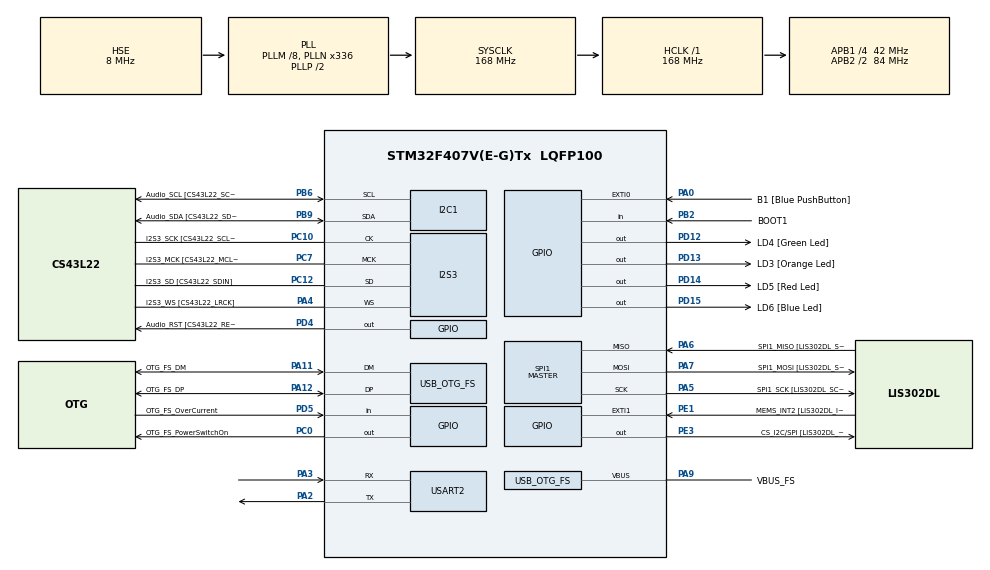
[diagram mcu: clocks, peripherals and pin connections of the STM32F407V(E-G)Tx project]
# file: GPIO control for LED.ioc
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I2S3.AudioFreq-Half_Duplex_Master=I2S_AUDIOFREQ_96K
I2S3.ErrorAudioFreq=-2.34 %
I2S3.ErrorAudioFreq-Half_Duplex_Master=0.8 %
I2S3.FullDuplexMode=I2S_FULLDUPLEXMODE_DISABLE
I2S3.Instance=SPI$Index
I2S3.RealAudioFreq=93.75 KHz
I2S3.RealAudioFreq-Half_Duplex_Master=96.774 KHz
I2S3.VirtualMode=I2S_MODE_MASTER
Mcu.Family=STM32F4
Mcu.Name=STM32F407V(E-G)Tx
Mcu.Package=LQFP100
NVIC.OTG_FS_IRQn=true\:0\:0\:false\:false\:true\:true\:true
NVIC.PriorityGroup=NVIC_PRIORITYGROUP_0
PA0-WKUP.GPIO_Label=B1 [Blue PushButton]
PA0-WKUP.GPIO_ModeDefaultEXTI=GPIO_MODE_EVT_RISING
PA0-WKUP.GPIO_PuPd=GPIO_NOPULL
PA0-WKUP.Signal=GPXTI0
PA10.GPIO_Label=OTG_FS_ID
PA10.GPIO_Mode=GPIO_MODE_AF_PP
PA10.GPIO_PuPd=GPIO_NOPULL
PA10.GPIO_Speed=GPIO_SPEED_FREQ_LOW
PA10.Signal=USB_OTG_FS_ID
PA11.GPIO_Label=OTG_FS_DM
PA11.GPIO_Mode=GPIO_MODE_AF_PP
PA11.GPIO_PuPd=GPIO_NOPULL
PA11.GPIO_Speed=GPIO_SPEED_FREQ_LOW
PA11.Mode=Host_Only
PA11.Signal=USB_OTG_FS_DM
PA12.GPIO_Label=OTG_FS_DP
PA12.GPIO_Mode=GPIO_MODE_AF_PP
PA12.GPIO_PuPd=GPIO_NOPULL
PA12.GPIO_Speed=GPIO_SPEED_FREQ_LOW
PA12.Mode=Host_Only
PA12.Signal=USB_OTG_FS_DP
PA13.GPIO_Label=SWDIO
PA13.Mode=Serial_Wire
PA13.Signal=SYS_JTMS-SWDIO
PA14.GPIO_Label=SWCLK
PA14.Mode=Serial_Wire
PA14.Signal=SYS_JTCK-SWCLK
PA2.Mode=Asynchronous
PA2.Signal=USART2_TX
PA3.Mode=Asynchronous
PA3.Signal=USART2_RX
PA4.GPIO_Label=I2S3_WS [CS43L22_LRCK]
PA4.GPIO_Mode=GPIO_MODE_AF_PP
PA4.GPIO_PuPd=GPIO_NOPULL
PA4.GPIO_Speed=GPIO_SPEED_FREQ_LOW
PA4.Mode=Half_Duplex_Master
PA4.Signal=I2S3_WS
PA5.GPIO_Label=SPI1_SCK [LIS302DL_SCL/SPC]
PA5.GPIO_Mode=GPIO_MODE_AF_PP
PA5.GPIO_PuPd=GPIO_NOPULL
PA5.GPIO_Speed=GPIO_SPEED_FREQ_LOW
PA5.Mode=Full_Duplex_Master
PA5.Signal=SPI1_SCK
PA6.GPIO_Label=SPI1_MISO [LIS302DL_SDO]
PA6.GPIO_Mode=GPIO_MODE_AF_PP
PA6.GPIO_PuPd=GPIO_NOPULL
PA6.GPIO_Speed=GPIO_SPEED_FREQ_LOW
PA6.Mode=Full_Duplex_Master
PA6.Signal=SPI1_MISO
PA7.GPIO_Label=SPI1_MOSI [LIS302DL_SDA/SDI/SDO]
PA7.GPIO_Mode=GPIO_MODE_AF_PP
PA7.GPIO_PuPd=GPIO_NOPULL
PA7.GPIO_Speed=GPIO_SPEED_FREQ_LOW
PA7.Mode=Full_Duplex_Master
PA7.Signal=SPI1_MOSI
PA9.GPIO_Label=VBUS_FS
PA9.GPIO_Mode=GPIO_MODE_INPUT
PA9.GPIO_PuPd=GPIO_NOPULL
PA9.Mode=Activate_VBUS
PA9.Signal=USB_OTG_FS_VBUS
PB10.GPIO_Label=CLK_IN [MP45DT02_CLK]
PB10.GPIO_Mode=GPIO_MODE_AF_PP
PB10.GPIO_PuPd=GPIO_NOPULL
PB10.GPIO_Speed=GPIO_SPEED_FREQ_LOW
PB10.Signal=I2S2_CK
PB2.GPIO_Label=BOOT1
PB2.GPIO_Mode=GPIO_MODE_INPUT
PB2.GPIO_PuPd=GPIO_NOPULL
PB2.Signal=GPIO_Input
PB3.GPIO_Label=SWO
PB3.Signal=SYS_JTDO-SWO
PB6.GPIO_Label=Audio_SCL [CS43L22_SCL]
PB6.GPIO_Mode=GPIO_MODE_AF_OD
PB6.GPIO_PuPd=GPIO_NOPULL
PB6.GPIO_Speed=GPIO_SPEED_FREQ_LOW
PB6.Mode=I2C
PB6.Signal=I2C1_SCL
PB9.GPIO_Label=Audio_SDA [CS43L22_SDA]
PB9.GPIO_Mode=GPIO_MODE_AF_OD
PB9.GPIO_PuPd=GPIO_NOPULL
PB9.GPIO_Speed=GPIO_SPEED_FREQ_LOW
PB9.Mode=I2C
PB9.Signal=I2C1_SDA
PC0.GPIO_Label=OTG_FS_PowerSwitchOn
PC0.GPIO_PuPd=GPIO_NOPULL
PC0.GPIO_Speed=GPIO_SPEED_FREQ_LOW
PC0.PinState=GPIO_PIN_SET
PC0.Signal=GPIO_Output
PC10.GPIO_Label=I2S3_SCK [CS43L22_SCLK]
PC10.GPIO_Mode=GPIO_MODE_AF_PP
PC10.GPIO_PuPd=GPIO_NOPULL
PC10.GPIO_Speed=GPIO_SPEED_FREQ_LOW
PC10.Mode=Half_Duplex_Master
PC10.Signal=I2S3_CK
PC12.GPIO_Label=I2S3_SD [CS43L22_SDIN]
PC12.GPIO_Mode=GPIO_MODE_AF_PP
PC12.GPIO_PuPd=GPIO_NOPULL
PC12.GPIO_Speed=GPIO_SPEED_FREQ_LOW
PC12.Mode=Half_Duplex_Master
PC12.Signal=I2S3_SD
PC14-OSC32_IN.GPIO_Label=PC14-OSC32_IN
PC14-OSC32_IN.Mode=LSE-External-Oscillator
PC14-OSC32_IN.Signal=RCC_OSC32_IN
PC15-OSC32_OUT.GPIO_Label=PC15-OSC32_OUT
PC15-OSC32_OUT.Mode=LSE-External-Oscillator
PC15-OSC32_OUT.Signal=RCC_OSC32_OUT
PC3.GPIO_Label=PDM_OUT [MP45DT02_DOUT]
PC3.GPIO_Mode=GPIO_MODE_AF_PP
PC3.GPIO_PuPd=GPIO_NOPULL
PC3.GPIO_Speed=GPIO_SPEED_FREQ_LOW
PC3.Signal=I2S2_SD
PC7.GPIO_Label=I2S3_MCK [CS43L22_MCLK]
PC7.GPIO_Mode=GPIO_MODE_AF_PP
PC7.GPIO_PuPd=GPIO_NOPULL
PC7.GPIO_Speed=GPIO_SPEED_FREQ_LOW
PC7.Mode=Master_Clock_Activated
PC7.Signal=I2S3_MCK
PD12.GPIO_Label=LD4 [Green Led]
PD12.GPIO_PuPd=GPIO_NOPULL
PD12.GPIO_Speed=GPIO_SPEED_FREQ_LOW
PD12.Signal=GPIO_Output
PD13.GPIO_Label=LD3 [Orange Led]
PD13.GPIO_PuPd=GPIO_NOPULL
PD13.GPIO_Speed=GPIO_SPEED_FREQ_LOW
PD13.Signal=GPIO_Output
PD14.GPIO_Label=LD5 [Red Led]
PD14.GPIO_PuPd=GPIO_NOPULL
PD14.GPIO_Speed=GPIO_SPEED_FREQ_LOW
PD14.Signal=GPIO_Output
PD15.GPIO_Label=LD6 [Blue Led]
PD15.GPIO_PuPd=GPIO_NOPULL
PD15.GPIO_Speed=GPIO_SPEED_FREQ_LOW
PD15.Signal=GPIO_Output
PD4.GPIO_Label=Audio_RST [CS43L22_RESET]
PD4.GPIO_PuPd=GPIO_NOPULL
PD4.GPIO_Speed=GPIO_SPEED_FREQ_LOW
PD4.Signal=GPIO_Output
PD5.GPIO_Label=OTG_FS_OverCurrent
PD5.GPIO_Mode=GPIO_MODE_INPUT
PD5.GPIO_PuPd=GPIO_NOPULL
PD5.Signal=GPIO_Input
PE1.GPIO_Label=MEMS_INT2 [LIS302DL_INT2]
PE1.GPIO_ModeDefaultEXTI=GPIO_MODE_EVT_RISING
PE1.GPIO_PuPd=GPIO_NOPULL
PE1.Signal=GPXTI1
PE3.GPIO_Label=CS_I2C/SPI [LIS302DL_CS_I2C/SPI]
PE3.GPIO_PuPd=GPIO_NOPULL
PE3.GPIO_Speed=GPIO_SPEED_FREQ_LOW
PE3.Signal=GPIO_Output
PH0-OSC_IN.GPIO_Label=PH0-OSC_IN
PH0-OSC_IN.Mode=HSE-External-Oscillator
PH0-OSC_IN.Signal=RCC_OSC_IN
PH1-OSC_OUT.GPIO_Label=PH1-OSC_OUT
PH1-OSC_OUT.Mode=HSE-External-Oscillator
PH1-OSC_OUT.Signal=RCC_OSC_OUT
ProjectManager.HeapSize=0x200
ProjectManager.StackSize=0x400
ProjectManager.TargetToolchain=TrueSTUDIO
RCC.48MHZClocksFreq_Value=48000000
RCC.AHBFreq_Value=168000000
RCC.APB1CLKDivider=RCC_HCLK_DIV4
RCC.APB1Freq_Value=42000000
RCC.APB1TimFreq_Value=84000000
RCC.APB2CLKDivider=RCC_HCLK_DIV2
RCC.APB2Freq_Value=84000000
RCC.APB2TimFreq_Value=168000000
RCC.CortexFreq_Value=168000000
RCC.HCLKFreq_Value=168000000
RCC.HSE_VALUE=8000000
RCC.HSI_VALUE=16000000
RCC.PLLM=8
RCC.PLLN=336
RCC.PLLQ=7
RCC.SYSCLKFreq_VALUE=168000000
RCC.SYSCLKSource=RCC_SYSCLKSOURCE_PLLCLK
RCC.VCOOutputFreq_Value=336000000
SPI1.BaudRatePrescaler-Full_Duplex_Master=SPI_BAUDRATEPRESCALER_2
SPI1.CalculateBaudRate-Full_Duplex_Master=42.0 MBits/s
SPI1.Direction=SPI_DIRECTION_2LINES
SPI1.Mode=SPI_MODE_MASTER
SPI1.Mode-Full_Duplex_Master=SPI_MODE_MASTER
SPI1.VirtualType=VM_MASTER
USART2.VirtualMode=VM_ASYNC
USB_HOST.BSP.number=1
USB_HOST.USBH_HandleTypeDef-CDC_FS=hUsbHostFS
USB_HOST.VirtualModeFS=Cdc
USB_HOST0.BSP.STBoard=false
USB_HOST0.BSP.api=Unknown
USB_HOST0.BSP.i2caddr=0
USB_HOST0.BSP.i2creg=0
USB_HOST0.BSP.instance=PC0
USB_HOST0.BSP.ip=GPIO
USB_HOST0.BSP.mode=Output
USB_HOST0.BSP.name=Drive_VBUS_FS
USB_HOST0.BSP.solution=PC0
USB_OTG_FS.VirtualMode=Host_Only
USB_OTG_FS.phy_itface=HCD_PHY_EMBEDDED
VP_USB_HOST_VS_USB_HOST_CDC_FS.Mode=CDC_FS
board=STM32F407G-DISC1

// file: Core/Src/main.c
/* USER CODE BEGIN Header */
/**
  ******************************************************************************
  * @file           : main.c
  * @brief          : Main program body
  ******************************************************************************
  * @attention
  *
  * <h2><center>&copy; Copyright (c) 2020 STMicroelectronics.
  * All rights reserved.</center></h2>
  *
  * This software component is licensed by ST under Ultimate Liberty license
  * SLA0044, the "License"; You may not use this file except in compliance with
  * the License. You may obtain a copy of the License at:
  *                             www.st.com/SLA0044
  *
  ******************************************************************************
  */
/* USER CODE END Header */
#include "main.h"
#include "i2c.h"
#include "i2s.h"
#include "spi.h"
#include "usart.h"
#include "usb_host.h"
#include "gpio.h"

void SystemClock_Config(void);
void MX_USB_HOST_Process(void);

int main(void)
{

  /* MCU Configuration--------------------------------------------------------*/

  /* Reset of all peripherals, Initializes the Flash interface and the Systick. */
  HAL_Init();

  /* Configure the system clock */
  SystemClock_Config();

  /* Initialize all configured peripherals */
  MX_GPIO_Init();
  MX_I2C1_Init();
  MX_I2S3_Init();
  MX_SPI1_Init();
  MX_USART2_UART_Init();
  MX_USB_HOST_Init();
  /* USER CODE BEGIN 2 */
  // 4->3->5->6
  HAL_GPIO_WritePin(GPIOD, GPIO_PIN_12, GPIO_PIN_RESET);
  HAL_GPIO_WritePin(GPIOD, GPIO_PIN_13, GPIO_PIN_RESET);
  HAL_GPIO_WritePin(GPIOD, GPIO_PIN_14, GPIO_PIN_RESET);
  HAL_GPIO_WritePin(GPIOD, GPIO_PIN_15, GPIO_PIN_RESET);
  /* USER CODE END 2 */

  /* Infinite loop */
  while (1)
  {
    MX_USB_HOST_Process();

    /* USER CODE BEGIN 3 */
    while( HAL_GPIO_ReadPin(GPIOA,GPIO_PIN_0) == GPIO_PIN_SET )
    {
		HAL_GPIO_WritePin(GPIOD, GPIO_PIN_12, GPIO_PIN_SET);
		HAL_Delay(100);
		HAL_GPIO_WritePin(GPIOD, GPIO_PIN_12, GPIO_PIN_RESET);

		HAL_GPIO_WritePin(GPIOD, GPIO_PIN_13, GPIO_PIN_SET);
		HAL_Delay(100);
		HAL_GPIO_WritePin(GPIOD, GPIO_PIN_13, GPIO_PIN_RESET);

		HAL_GPIO_WritePin(GPIOD, GPIO_PIN_14, GPIO_PIN_SET);
		HAL_Delay(100);
		HAL_GPIO_WritePin(GPIOD, GPIO_PIN_14, GPIO_PIN_RESET);

		HAL_GPIO_WritePin(GPIOD, GPIO_PIN_15, GPIO_PIN_SET);
		HAL_Delay(100);
		HAL_GPIO_WritePin(GPIOD, GPIO_PIN_15, GPIO_PIN_RESET);
    }
  }
  /* USER CODE END 3 */
}

void SystemClock_Config(void)
{
  RCC_OscInitTypeDef RCC_OscInitStruct = {0};
  RCC_ClkInitTypeDef RCC_ClkInitStruct = {0};
  RCC_PeriphCLKInitTypeDef PeriphClkInitStruct = {0};

  /** Configure the main internal regulator output voltage
  */
  __HAL_RCC_PWR_CLK_ENABLE();
  __HAL_PWR_VOLTAGESCALING_CONFIG(PWR_REGULATOR_VOLTAGE_SCALE1);
  /** Initializes the RCC Oscillators according to the specified parameters
  * in the RCC_OscInitTypeDef structure.
  */
  RCC_OscInitStruct.OscillatorType = RCC_OSCILLATORTYPE_HSE;
  RCC_OscInitStruct.HSEState = RCC_HSE_ON;
  RCC_OscInitStruct.PLL.PLLState = RCC_PLL_ON;
  RCC_OscInitStruct.PLL.PLLSource = RCC_PLLSOURCE_HSE;
  RCC_OscInitStruct.PLL.PLLM = 8;
  RCC_OscInitStruct.PLL.PLLN = 336;
  RCC_OscInitStruct.PLL.PLLP = RCC_PLLP_DIV2;
  RCC_OscInitStruct.PLL.PLLQ = 7;
  if (HAL_RCC_OscConfig(&RCC_OscInitStruct) != HAL_OK)
  {
    Error_Handler();
  }
  /** Initializes the CPU, AHB and APB buses clocks
  */
  RCC_ClkInitStruct.ClockType = RCC_CLOCKTYPE_HCLK|RCC_CLOCKTYPE_SYSCLK
                              |RCC_CLOCKTYPE_PCLK1|RCC_CLOCKTYPE_PCLK2;
  RCC_ClkInitStruct.SYSCLKSource = RCC_SYSCLKSOURCE_PLLCLK;
  RCC_ClkInitStruct.AHBCLKDivider = RCC_SYSCLK_DIV1;
  RCC_ClkInitStruct.APB1CLKDivider = RCC_HCLK_DIV4;
  RCC_ClkInitStruct.APB2CLKDivider = RCC_HCLK_DIV2;

  if (HAL_RCC_ClockConfig(&RCC_ClkInitStruct, FLASH_LATENCY_5) != HAL_OK)
  {
    Error_Handler();
  }
  PeriphClkInitStruct.PeriphClockSelection = RCC_PERIPHCLK_I2S;
  PeriphClkInitStruct.PLLI2S.PLLI2SN = 192;
  PeriphClkInitStruct.PLLI2S.PLLI2SR = 2;
  if (HAL_RCCEx_PeriphCLKConfig(&PeriphClkInitStruct) != HAL_OK)
  {
    Error_Handler();
  }
}

void Error_Handler(void)
{
}

/************************ (C) COPYRIGHT STMicroelectronics *****END OF FILE****/
